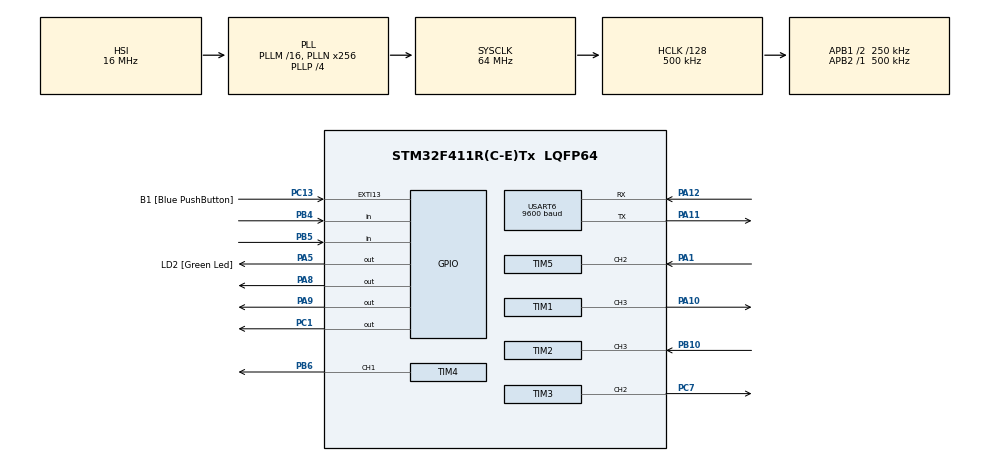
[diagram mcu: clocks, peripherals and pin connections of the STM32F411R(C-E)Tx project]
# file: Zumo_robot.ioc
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Mcu.Family=STM32F4
Mcu.Name=STM32F411R(C-E)Tx
Mcu.Package=LQFP64
NVIC.PriorityGroup=NVIC_PRIORITYGROUP_0
NVIC.TIM2_IRQn=true\:0\:0\:false\:false\:true\:true\:true\:true
NVIC.TIM5_IRQn=true\:0\:0\:false\:false\:true\:true\:true\:true
NVIC.USART6_IRQn=true\:0\:0\:false\:false\:true\:true\:true\:true
PA1.Signal=S_TIM5_CH2
PA10.Signal=S_TIM1_CH3
PA11.Mode=Asynchronous
PA11.Signal=USART6_TX
PA12.Mode=Asynchronous
PA12.Signal=USART6_RX
PA13.GPIO_Label=TMS
PA13.Signal=SYS_JTMS-SWDIO
PA14.GPIO_Label=TCK
PA14.Signal=SYS_JTCK-SWCLK
PA2.Signal=USART2_TX
PA3.GPIO_Label=USART_RX
PA3.Signal=USART2_RX
PA5.GPIO_Label=LD2 [Green Led]
PA5.Signal=GPIO_Output
PA8.Signal=GPIO_Output
PA9.Signal=GPIO_Output
PB10.Signal=S_TIM2_CH3
PB3.GPIO_Label=SWO
PB3.Signal=SYS_JTDO-SWO
PB4.Signal=GPIO_Input
PB5.Signal=GPIO_Input
PB6.Signal=S_TIM4_CH1
PC1.Signal=GPIO_Output
PC13-ANTI_TAMP.GPIO_Label=B1 [Blue PushButton]
PC13-ANTI_TAMP.GPIO_ModeDefaultEXTI=GPIO_MODE_IT_FALLING
PC13-ANTI_TAMP.Signal=GPXTI13
PC14-OSC32_IN.Signal=RCC_OSC32_IN
PC15-OSC32_OUT.Signal=RCC_OSC32_OUT
PC7.Signal=S_TIM3_CH2
PH0\ -\ OSC_IN.Signal=RCC_OSC_IN
PH1\ -\ OSC_OUT.Signal=RCC_OSC_OUT
ProjectManager.HeapSize=0x200
ProjectManager.StackSize=0x400
ProjectManager.TargetToolchain=STM32CubeIDE
RCC.48MHZClocksFreq_Value=64000000
RCC.AHBCLKDivider=RCC_SYSCLK_DIV128
RCC.AHBFreq_Value=500000
RCC.APB1CLKDivider=RCC_HCLK_DIV2
RCC.APB1Freq_Value=250000
RCC.APB1TimFreq_Value=500000
RCC.APB2Freq_Value=500000
RCC.APB2TimFreq_Value=500000
RCC.CortexFreq_Value=500000
RCC.FLatency-AdvancedSettings=FLASH_LATENCY_0
RCC.HCLKFreq_Value=500000
RCC.HSE_VALUE=8000000
RCC.HSI_VALUE=16000000
RCC.LSE_VALUE=32768
RCC.PLLN=256
RCC.PLLP=RCC_PLLP_DIV4
RCC.SYSCLKFreq_VALUE=64000000
RCC.SYSCLKSource=RCC_SYSCLKSOURCE_PLLCLK
RCC.VCOOutputFreq_Value=256000000
SH.S_TIM1_CH3.0=TIM1_CH3,PWM Generation3 CH3
SH.S_TIM2_CH3.0=TIM2_CH3,Input_Capture3_from_TI3
SH.S_TIM3_CH2.0=TIM3_CH2,PWM Generation2 CH2
SH.S_TIM4_CH1.0=TIM4_CH1,PWM Generation1 CH1
SH.S_TIM5_CH2.0=TIM5_CH2,Input_Capture2_from_TI2
TIM1.Channel-PWM\ Generation3\ CH3=TIM_CHANNEL_3
TIM1.Period=99
TIM1.Prescaler=99
TIM2.Channel-Input_Capture3_from_TI3=TIM_CHANNEL_3
TIM3.Channel-PWM\ Generation2\ CH2=TIM_CHANNEL_2
TIM3.Period=99
TIM3.Prescaler=9
TIM3.Pulse-PWM\ Generation2\ CH2=0
TIM4.Channel-PWM\ Generation1\ CH1=TIM_CHANNEL_1
TIM4.Period=99
TIM4.Prescaler=9
TIM4.Pulse-PWM\ Generation1\ CH1=0
TIM5.Channel-Input_Capture2_from_TI2=TIM_CHANNEL_2
TIM9.Period=65000
TIM9.Prescaler=49999
USART6.BaudRate=9600
USART6.VirtualMode=VM_ASYNC
VP_TIM1_VS_ClockSourceINT.Mode=Internal
VP_TIM2_VS_ClockSourceINT.Mode=Internal
VP_TIM5_VS_ClockSourceINT.Mode=Internal
VP_TIM9_VS_ClockSourceINT.Mode=Internal
board=NUCLEO-F411RE

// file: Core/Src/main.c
/* USER CODE BEGIN Header */
/**
 ******************************************************************************
 * @file           : main.c
 * @brief          : Main program body
 ******************************************************************************
 * @attention
 *
 * Copyright (c) 2025 STMicroelectronics.
 * All rights reserved.
 *
 * This software is licensed under terms that can be found in the LICENSE file
 * in the root directory of this software component.
 * If no LICENSE file comes with this software, it is provided AS-IS.
 *
 ******************************************************************************
 */
/* USER CODE END Header */
#include "main.h"

/* USER CODE BEGIN Includes */
int count = 0;
int party = 0;
uint8_t receive = 0;
uint8_t transmit = 97;
uint8_t init = 0;
uint8_t songNum = 0;

/* USER CODE END Includes */

TIM_HandleTypeDef htim1;
TIM_HandleTypeDef htim2;
TIM_HandleTypeDef htim3;
TIM_HandleTypeDef htim4;
TIM_HandleTypeDef htim5;
TIM_HandleTypeDef htim9;

UART_HandleTypeDef huart6;

void SystemClock_Config(void);
static void MX_GPIO_Init(void);
static void MX_USART6_UART_Init(void);
static void MX_TIM4_Init(void);
static void MX_TIM3_Init(void);
static void MX_TIM2_Init(void);
static void MX_TIM9_Init(void);
static void MX_TIM5_Init(void);
static void MX_TIM1_Init(void);

/* USER CODE BEGIN 0 */
struct Song{
	int bpm; // should be between 50 and 150
	int duration; //in seconds
	int genre;
};
void forward(int ccr){
	HAL_GPIO_WritePin(GPIOA, GPIO_PIN_9, 0);
	HAL_GPIO_WritePin(GPIOA, GPIO_PIN_8, 0);
	TIM4->CCR1 = ccr;
	TIM3->CCR2 = ccr;
}
void backward(float seconds, int ccr){
	HAL_GPIO_WritePin(GPIOA, GPIO_PIN_9, 1);
	HAL_GPIO_WritePin(GPIOA, GPIO_PIN_8, 1);
	TIM4->CCR1 = ccr;
	TIM3->CCR2 = ccr;
}
void right(int ccr){
	HAL_GPIO_WritePin(GPIOA, GPIO_PIN_9, 0);
	HAL_GPIO_WritePin(GPIOA, GPIO_PIN_8, 0);
	TIM4->CCR1 = ccr;
	TIM3->CCR2 = 0;
}
void left(int ccr){
	HAL_GPIO_WritePin(GPIOA, GPIO_PIN_9, 0);
	HAL_GPIO_WritePin(GPIOA, GPIO_PIN_8, 0);
	TIM4->CCR1 = 0;
	TIM3->CCR2 = ccr;
}
int right_sensor(GPIO_InitTypeDef GPIO_InitStruct){
	  GPIO_InitStruct.Pin = GPIO_PIN_1;
	  GPIO_InitStruct.Mode = GPIO_MODE_OUTPUT_PP;
	  GPIO_InitStruct.Pull = GPIO_NOPULL;
	  HAL_GPIO_Init(GPIOA, &GPIO_InitStruct);
	  HAL_GPIO_WritePin(GPIOA, GPIO_PIN_1, 1);
	  HAL_Delay(5);
	  GPIO_InitStruct.Pin = GPIO_PIN_1;
	  GPIO_InitStruct.Mode = GPIO_MODE_AF_PP;
	  GPIO_InitStruct.Pull = GPIO_NOPULL;
	  GPIO_InitStruct.Speed = GPIO_SPEED_FREQ_LOW;
	  GPIO_InitStruct.Alternate = GPIO_AF2_TIM5;
	  TIM5->CNT = 0;
	  HAL_GPIO_Init(GPIOA, &GPIO_InitStruct);
	  HAL_Delay(10);
	  return count;
}
int left_sensor(GPIO_InitTypeDef GPIO_InitStruct){
	  GPIO_InitStruct.Pin = GPIO_PIN_10;
	  GPIO_InitStruct.Mode = GPIO_MODE_OUTPUT_PP;
	  GPIO_InitStruct.Pull = GPIO_NOPULL;
	  HAL_GPIO_Init(GPIOB, &GPIO_InitStruct);
	  HAL_GPIO_WritePin(GPIOB, GPIO_PIN_10, 1);
	  HAL_Delay(5);
	  GPIO_InitStruct.Pin = GPIO_PIN_10;
	  GPIO_InitStruct.Mode = GPIO_MODE_AF_PP;
	  GPIO_InitStruct.Pull = GPIO_NOPULL;
	  GPIO_InitStruct.Speed = GPIO_SPEED_FREQ_LOW;
	  GPIO_InitStruct.Alternate = GPIO_AF1_TIM2;
	  TIM2->CNT = 0;
	  HAL_GPIO_Init(GPIOB, &GPIO_InitStruct);
	  HAL_Delay(10);
	  return count;
}
void stop(){
	TIM4->CCR1 = 0;
	TIM3->CCR2 = 0;
	TIM1->CCR3 = 0;
}
void dance(int ccr){
	TIM1->CCR3 = ccr;
}
/* USER CODE END 0 */

int main(void)
{

  /* MCU Configuration--------------------------------------------------------*/

  /* Reset of all peripherals, Initializes the Flash interface and the Systick. */
  HAL_Init();

  /* Configure the system clock */
  SystemClock_Config();

  /* Initialize all configured peripherals */
  MX_GPIO_Init();
  MX_USART6_UART_Init();
  MX_TIM4_Init();
  MX_TIM3_Init();
  MX_TIM2_Init();
  MX_TIM9_Init();
  MX_TIM5_Init();
  MX_TIM1_Init();
  /* USER CODE BEGIN 2 */
 HAL_TIM_PWM_Start(&htim4, TIM_CHANNEL_1);
 HAL_TIM_PWM_Start(&htim3, TIM_CHANNEL_2);
 HAL_TIM_PWM_Start(&htim1, TIM_CHANNEL_3);

 int ccr = 0;
 int seconds = 0;
 HAL_GPIO_WritePin(GPIOA, GPIO_PIN_9, 1);
 HAL_GPIO_WritePin(GPIOA, GPIO_PIN_8, 1);
 struct Song songs[13];
 songs[0].bpm = 0;
 songs[0].duration = 0;
 songs[0].genre = 0;
 //song 1: one kiss
 songs[1].bpm = 124;
 songs[1].duration = 215;
 songs[1].genre = 3;
 //somg2: both of us
 songs[2].bpm = 124;
 songs[2].duration = 352;
 songs[2].genre = 4;
 //song 3: romantika
 songs[3].bpm = 160;
 songs[3].duration = 250;
 songs[3].genre = 4;
 //song 4: birds of a feather
 songs[4].bpm = 104;
 songs[4].duration = 230;
 songs[4].genre = 3;
 //song 5: new light
 songs[5].bpm = 124;
 songs[5].duration = 217;
 songs[5].genre = 3;
 //song 6: california love
 songs[6].bpm = 92;
 songs[6].duration = 285;
 songs[6].genre = 1;
 //song 7: I had some help
 songs[7].bpm = 128;
 songs[7].duration = 201;
 songs[7].genre = 2;
 //song 8: Future song
 songs[8].bpm = 80;
 songs[8].duration = 148;
 songs[8].genre = 1;
 //song 9: nun major
 songs[9].bpm = 98;
 songs[9].duration = 152;
 songs[9].genre = 1;
 //song 10: bullets
 songs[10].bpm = 125;
 songs[10].duration = 299;
 songs[10].genre = 4;
 //song 11: jolene
 songs[11].bpm = 111;
 songs[11].duration = 161;
 songs[11].genre = 2;
 //song 12: all your'n
 songs[12].bpm = 78;
 songs[12].duration = 218;
 songs[12].genre = 2;

 HAL_GPIO_WritePin(GPIOC, GPIO_PIN_1, 1);
 HAL_TIM_IC_Start_IT(&htim5, TIM_CHANNEL_2);
 HAL_TIM_IC_Start_IT(&htim2, TIM_CHANNEL_3);
 GPIO_InitTypeDef GPIO_InitStruct = {0};
 TIM2->CCER |= (0b1 << 9);
 TIM2->CCER &= ~(0b1 << 11);
 TIM5->CCER |= (0b1 << 5);
 TIM5->CCER &= ~(0b1 << 7);
 int rightS = 0;
 int leftS = 0;
 int genre = 0;
 int find_shape = 0;
 int intersection = 0;

 HAL_UART_Receive_IT(&huart6, &receive, 1);
  /* USER CODE END 2 */

  /* Infinite loop */
  /* USER CODE BEGIN WHILE */
 while (1)
 {
	  //state: init
	 receive = 0;
	 transmit = 97;
	 init = 1;
	  while(init == 1){

	  }

	  //setup
	  ccr = 15;
	  int length = songs[songNum].duration;
 	  TIM1->ARR = 5000 * 60 / songs[songNum].bpm;
	  dance(1000);
	  genre = songs[songNum].genre;

	  __HAL_TIM_SET_COUNTER(&htim9, 0);
	  HAL_TIM_Base_Start(&htim9);
	  int tim9_time = 0;

	  //state: find_shape part 1
	  find_shape = 1;
	  intersection = 0;
	  while(find_shape == 1){
		  forward(ccr);
		  rightS = right_sensor(GPIO_InitStruct);
		  leftS = left_sensor(GPIO_InitStruct);
		  //test a
		  transmit = 97;
		  HAL_UART_Transmit(&huart6, &transmit, 1, HAL_MAX_DELAY);
		  //test a
		  if(rightS > 530 && leftS > 830) {
			  if((genre == 1 || genre == 2) && intersection == 0){
				  find_shape = 0;
				  break;
			  }
			  else if(intersection == 1){
				  //test c
				  transmit = 99;
				  HAL_UART_Transmit(&huart6, &transmit, 1, HAL_MAX_DELAY);
				  //test c
				  find_shape = 0;
				  break;
			  }
			  if(genre == 3 || genre == 4){
				  while(rightS > 530 && leftS > 830){
					  forward(ccr);
					  rightS = right_sensor(GPIO_InitStruct);
					  leftS = left_sensor(GPIO_InitStruct);
					  //test b
					  transmit = 98;
					  HAL_UART_Transmit(&huart6, &transmit, 1, HAL_MAX_DELAY);
					  //test b
				  }
			  }
			  intersection++;
		  }
		  else if(!(rightS > 530 && leftS > 830)){
			  while(rightS > 530){
				  leftS = left_sensor(GPIO_InitStruct);
				  rightS = right_sensor(GPIO_InitStruct);
				  if(rightS > 530 && leftS > 830){
					  break;
				  }
				  right(ccr + 25);
				  //test d
				  transmit = 100;
				  HAL_UART_Transmit(&huart6, &transmit, 1, HAL_MAX_DELAY);
				  //test d
			  }
			  while(leftS > 830){
				  leftS = left_sensor(GPIO_InitStruct);
				  rightS = right_sensor(GPIO_InitStruct);
				  if(rightS > 530 && leftS > 830){
					  break;
				  }
				  left(ccr + 25);
				  //test e
				  transmit = 101;
				  HAL_UART_Transmit(&huart6, &transmit, 1, HAL_MAX_DELAY);
				  //test e
			  }
		  }
	  }

 	 if(genre == 1 || genre == 3){
		  while(leftS > 830){
			  //test t
			  transmit = 116;
			  HAL_UART_Transmit(&huart6, &transmit, 1, HAL_MAX_DELAY);
			  //test t
			  left(ccr + 25);
			  leftS = left_sensor(GPIO_InitStruct);
		  }
 	 }
 	 else{
		  while(rightS > 530){
			  //test f
			  transmit = 102;
			  HAL_UART_Transmit(&huart6, &transmit, 1, HAL_MAX_DELAY);
			  //test f
			  right(ccr + 25);
			  rightS = right_sensor(GPIO_InitStruct);
		  }
 	 }

 	 //state: find_shape part 2
	  find_shape = 1;
	  while(find_shape == 1){
		  //test g
		  transmit = 103;
		  HAL_UART_Transmit(&huart6, &transmit, 1, HAL_MAX_DELAY);
		  //test g
		  forward(ccr);
		  rightS = right_sensor(GPIO_InitStruct);
		  leftS = left_sensor(GPIO_InitStruct);
		  if(rightS > 530 && leftS > 830) {
			  //test h
			  transmit = 104;
			  HAL_UART_Transmit(&huart6, &transmit, 1, HAL_MAX_DELAY);
			  //test h
			  find_shape = 0;
			  break;
		  }
		  else if(!(rightS > 530 && leftS > 830)){
			  while(rightS > 530){
				  leftS = left_sensor(GPIO_InitStruct);
				  rightS = right_sensor(GPIO_InitStruct);
				  if(rightS > 530 && leftS > 830) {
					  //test j
					  transmit = 106;
					  HAL_UART_Transmit(&huart6, &transmit, 1, HAL_MAX_DELAY);
					  //test j
					  find_shape = 0;
					  break;
				  }
				  right(ccr + 25);
				  //test i
				  transmit = 105;
				  HAL_UART_Transmit(&huart6, &transmit, 1, HAL_MAX_DELAY);
				  //test i
			  }
			  while(leftS > 830){
				  leftS = left_sensor(GPIO_InitStruct);
				  rightS = right_sensor(GPIO_InitStruct);
				  if(rightS > 530 && leftS > 830){
					  //test l
					  transmit = 108;
					  HAL_UART_Transmit(&huart6, &transmit, 1, HAL_MAX_DELAY);
					  //test l
					  find_shape = 0;
					  break;
				  }
				  left(ccr + 25);
				  //test k
				  transmit = 107;
				  HAL_UART_Transmit(&huart6, &transmit, 1, HAL_MAX_DELAY);
				  //test k
			  }
	  	  }
	  }
	  while(rightS > 530){
		  //test m
		  transmit = 109;
		  HAL_UART_Transmit(&huart6, &transmit, 1, HAL_MAX_DELAY);
		  //test m
		  right(ccr + 25);
		  rightS = right_sensor(GPIO_InitStruct);
	  }

	  //state: dance_party for genre 1 and 3
	  party = 1;
	  while(party == 1 && (tim9_time < length * 10)){
		  //test n
		  transmit = 110;
		  HAL_UART_Transmit(&huart6, &transmit, 1, HAL_MAX_DELAY);
		  //test n
		  forward(ccr);
		  rightS = right_sensor(GPIO_InitStruct);
		  leftS = left_sensor(GPIO_InitStruct);
		  while(rightS > 600 && leftS > 900) {
			  //test o
			  transmit = 111;
			  HAL_UART_Transmit(&huart6, &transmit, 1, HAL_MAX_DELAY);
			  //test o
			  forward(ccr);
			  rightS = right_sensor(GPIO_InitStruct);
			  leftS = left_sensor(GPIO_InitStruct);
		  }
		  if(!(rightS > 600 && leftS > 900)){
			  while(rightS > 530){
				  leftS = left_sensor(GPIO_InitStruct);
				  rightS = right_sensor(GPIO_InitStruct);
				  if(leftS > 900){
					  //test q
					  transmit = 113;
					  HAL_UART_Transmit(&huart6, &transmit, 1, HAL_MAX_DELAY);
					  //test q
					  break;
				  }
				  right(ccr + 25);
				  //test p
				  transmit = 112;
				  HAL_UART_Transmit(&huart6, &transmit, 1, HAL_MAX_DELAY);
				  //test p
			  }
			  while(leftS > 830){
				  leftS = left_sensor(GPIO_InitStruct);
				  rightS = right_sensor(GPIO_InitStruct);
				  if(rightS > 600){
					  //test s
					  transmit = 115;
					  HAL_UART_Transmit(&huart6, &transmit, 1, HAL_MAX_DELAY);
					  //test s
					  break;
				  }
				  left(ccr + 25);
			  }
		  }
		  tim9_time = __HAL_TIM_GET_COUNTER(&htim9);
	  }

	  //return part 1
	  find_shape = 1;
	  while(find_shape == 1){
		  forward(ccr);
		  rightS = right_sensor(GPIO_InitStruct);
		  leftS = left_sensor(GPIO_InitStruct);
		  if(rightS > 530 && leftS > 830) {
			  find_shape = 0;
			  break;
		  }
		  else if(!(rightS > 530 && leftS > 830)){
			  while(rightS > 530){
				  leftS = left_sensor(GPIO_InitStruct);
				  rightS = right_sensor(GPIO_InitStruct);
				  if(rightS > 530 && leftS > 830) {
					  find_shape = 0;
					  break;
				  }
				  right(ccr + 25);
			  }
			  while(leftS > 830){
				  leftS = left_sensor(GPIO_InitStruct);
				  rightS = right_sensor(GPIO_InitStruct);
				  if(rightS > 530 && leftS > 830){
					  find_shape = 0;
					  break;
				  }
				  left(ccr + 25);
			  }
	  	  }
	  }

	  while(rightS > 530){
			  right(ccr + 25);
			  rightS = right_sensor(GPIO_InitStruct);
	  }

	  //return part 2
	  find_shape = 1;
	  while(find_shape == 1){
		  forward(ccr);
		  rightS = right_sensor(GPIO_InitStruct);
		  leftS = left_sensor(GPIO_InitStruct);
		  if(rightS > 530 && leftS > 830) {
			  find_shape = 0;
			  break;
		  }
		  else if(!(rightS > 530 && leftS > 830)){
			  while(rightS > 530){
				  leftS = left_sensor(GPIO_InitStruct);
				  rightS = right_sensor(GPIO_InitStruct);
				  if(rightS > 530 && leftS > 830) {
					  find_shape = 0;
					  break;
				  }
				  right(ccr + 25);
			  }
			  while(leftS > 830){
				  leftS = left_sensor(GPIO_InitStruct);
				  rightS = right_sensor(GPIO_InitStruct);
				  if(rightS > 530 && leftS > 830){
					  find_shape = 0;
					  break;
				  }
				  left(ccr + 25);
			  }
		  }
	  }

	  if(genre == 2 || genre == 4){
		  while(leftS > 830){
			  left(ccr + 25);
			  leftS = left_sensor(GPIO_InitStruct);
		  }
	  }
	  else{
		  while(rightS > 530){
			  right(ccr + 25);
			  rightS = right_sensor(GPIO_InitStruct);
		  }
	  }

	  //return part 3
	  find_shape = 1;
	  intersection = 0;
	  while(find_shape == 1){
		  forward(ccr);
		  rightS = right_sensor(GPIO_InitStruct);
		  leftS = left_sensor(GPIO_InitStruct);
		  if(rightS > 530 && leftS > 830) {
			  if((genre == 1 || genre == 2) && intersection == 0){
				  find_shape = 0;
				  break;
			  }
			  else if(intersection == 1){
				  find_shape = 0;
				  break;
			  }
			  if(genre == 3 || genre == 4){
				  while(rightS > 530 && leftS > 830){
					  forward(ccr);
					  rightS = right_sensor(GPIO_InitStruct);
					  leftS = left_sensor(GPIO_InitStruct);
				  }
			  }
			  intersection++;
		  }
		  else if(!(rightS > 530 && leftS > 830)){
			  while(rightS > 530){
				  leftS = left_sensor(GPIO_InitStruct);
				  rightS = right_sensor(GPIO_InitStruct);
				  if(rightS > 530 && leftS > 830){
					  break;
				  }
				  right(ccr + 25);
			  }
			  while(leftS > 830){
				  leftS = left_sensor(GPIO_InitStruct);
				  rightS = right_sensor(GPIO_InitStruct);
				  if(rightS > 530 && leftS > 830){
					  break;
				  }
				  left(ccr + 25);
			  }
		  }
	  }
	  stop();

	  //white right sensor: ~450, white left sensor: 783
	  //black right sensor: ~1180, black left sensor: 2050
    /* USER CODE END WHILE */

	  }
}

void SystemClock_Config(void)
{
  RCC_OscInitTypeDef RCC_OscInitStruct = {0};
  RCC_ClkInitTypeDef RCC_ClkInitStruct = {0};

  /** Configure the main internal regulator output voltage
  */
  __HAL_RCC_PWR_CLK_ENABLE();
  __HAL_PWR_VOLTAGESCALING_CONFIG(PWR_REGULATOR_VOLTAGE_SCALE1);

  /** Initializes the RCC Oscillators according to the specified parameters
  * in the RCC_OscInitTypeDef structure.
  */
  RCC_OscInitStruct.OscillatorType = RCC_OSCILLATORTYPE_HSI;
  RCC_OscInitStruct.HSIState = RCC_HSI_ON;
  RCC_OscInitStruct.HSICalibrationValue = RCC_HSICALIBRATION_DEFAULT;
  RCC_OscInitStruct.PLL.PLLState = RCC_PLL_ON;
  RCC_OscInitStruct.PLL.PLLSource = RCC_PLLSOURCE_HSI;
  RCC_OscInitStruct.PLL.PLLM = 16;
  RCC_OscInitStruct.PLL.PLLN = 256;
  RCC_OscInitStruct.PLL.PLLP = RCC_PLLP_DIV4;
  RCC_OscInitStruct.PLL.PLLQ = 4;
  if (HAL_RCC_OscConfig(&RCC_OscInitStruct) != HAL_OK)
  {
    Error_Handler();
  }

  /** Initializes the CPU, AHB and APB buses clocks
  */
  RCC_ClkInitStruct.ClockType = RCC_CLOCKTYPE_HCLK|RCC_CLOCKTYPE_SYSCLK
                              |RCC_CLOCKTYPE_PCLK1|RCC_CLOCKTYPE_PCLK2;
  RCC_ClkInitStruct.SYSCLKSource = RCC_SYSCLKSOURCE_PLLCLK;
  RCC_ClkInitStruct.AHBCLKDivider = RCC_SYSCLK_DIV128;
  RCC_ClkInitStruct.APB1CLKDivider = RCC_HCLK_DIV2;
  RCC_ClkInitStruct.APB2CLKDivider = RCC_HCLK_DIV1;

  if (HAL_RCC_ClockConfig(&RCC_ClkInitStruct, FLASH_LATENCY_0) != HAL_OK)
  {
    Error_Handler();
  }
}

static void MX_TIM1_Init(void)
{

  TIM_ClockConfigTypeDef sClockSourceConfig = {0};
  TIM_MasterConfigTypeDef sMasterConfig = {0};
  TIM_OC_InitTypeDef sConfigOC = {0};
  TIM_BreakDeadTimeConfigTypeDef sBreakDeadTimeConfig = {0};

  htim1.Instance = TIM1;
  htim1.Init.Prescaler = 99;
  htim1.Init.CounterMode = TIM_COUNTERMODE_UP;
  htim1.Init.Period = 99;
  htim1.Init.ClockDivision = TIM_CLOCKDIVISION_DIV1;
  htim1.Init.RepetitionCounter = 0;
  htim1.Init.AutoReloadPreload = TIM_AUTORELOAD_PRELOAD_DISABLE;
  if (HAL_TIM_Base_Init(&htim1) != HAL_OK)
  {
    Error_Handler();
  }
  sClockSourceConfig.ClockSource = TIM_CLOCKSOURCE_INTERNAL;
  if (HAL_TIM_ConfigClockSource(&htim1, &sClockSourceConfig) != HAL_OK)
  {
    Error_Handler();
  }
  if (HAL_TIM_PWM_Init(&htim1) != HAL_OK)
  {
    Error_Handler();
  }
  sMasterConfig.MasterOutputTrigger = TIM_TRGO_RESET;
  sMasterConfig.MasterSlaveMode = TIM_MASTERSLAVEMODE_DISABLE;
  if (HAL_TIMEx_MasterConfigSynchronization(&htim1, &sMasterConfig) != HAL_OK)
  {
    Error_Handler();
  }
  sConfigOC.OCMode = TIM_OCMODE_PWM1;
  sConfigOC.Pulse = 0;
  sConfigOC.OCPolarity = TIM_OCPOLARITY_HIGH;
  sConfigOC.OCNPolarity = TIM_OCNPOLARITY_HIGH;
  sConfigOC.OCFastMode = TIM_OCFAST_DISABLE;
  sConfigOC.OCIdleState = TIM_OCIDLESTATE_RESET;
  sConfigOC.OCNIdleState = TIM_OCNIDLESTATE_RESET;
  if (HAL_TIM_PWM_ConfigChannel(&htim1, &sConfigOC, TIM_CHANNEL_3) != HAL_OK)
  {
    Error_Handler();
  }
  sBreakDeadTimeConfig.OffStateRunMode = TIM_OSSR_DISABLE;
  sBreakDeadTimeConfig.OffStateIDLEMode = TIM_OSSI_DISABLE;
  sBreakDeadTimeConfig.LockLevel = TIM_LOCKLEVEL_OFF;
  sBreakDeadTimeConfig.DeadTime = 0;
  sBreakDeadTimeConfig.BreakState = TIM_BREAK_DISABLE;
  sBreakDeadTimeConfig.BreakPolarity = TIM_BREAKPOLARITY_HIGH;
  sBreakDeadTimeConfig.AutomaticOutput = TIM_AUTOMATICOUTPUT_DISABLE;
  if (HAL_TIMEx_ConfigBreakDeadTime(&htim1, &sBreakDeadTimeConfig) != HAL_OK)
  {
    Error_Handler();
  }
  HAL_TIM_MspPostInit(&htim1);

}

static void MX_TIM2_Init(void)
{

  TIM_ClockConfigTypeDef sClockSourceConfig = {0};
  TIM_MasterConfigTypeDef sMasterConfig = {0};
  TIM_IC_InitTypeDef sConfigIC = {0};

  htim2.Instance = TIM2;
  htim2.Init.Prescaler = 0;
  htim2.Init.CounterMode = TIM_COUNTERMODE_UP;
  htim2.Init.Period = 4294967295;
  htim2.Init.ClockDivision = TIM_CLOCKDIVISION_DIV1;
  htim2.Init.AutoReloadPreload = TIM_AUTORELOAD_PRELOAD_DISABLE;
  if (HAL_TIM_Base_Init(&htim2) != HAL_OK)
  {
    Error_Handler();
  }
  sClockSourceConfig.ClockSource = TIM_CLOCKSOURCE_INTERNAL;
  if (HAL_TIM_ConfigClockSource(&htim2, &sClockSourceConfig) != HAL_OK)
  {
    Error_Handler();
  }
  if (HAL_TIM_IC_Init(&htim2) != HAL_OK)
  {
    Error_Handler();
  }
  sMasterConfig.MasterOutputTrigger = TIM_TRGO_RESET;
  sMasterConfig.MasterSlaveMode = TIM_MASTERSLAVEMODE_DISABLE;
  if (HAL_TIMEx_MasterConfigSynchronization(&htim2, &sMasterConfig) != HAL_OK)
  {
    Error_Handler();
  }
  sConfigIC.ICPolarity = TIM_INPUTCHANNELPOLARITY_RISING;
  sConfigIC.ICSelection = TIM_ICSELECTION_DIRECTTI;
  sConfigIC.ICPrescaler = TIM_ICPSC_DIV1;
  sConfigIC.ICFilter = 0;
  if (HAL_TIM_IC_ConfigChannel(&htim2, &sConfigIC, TIM_CHANNEL_3) != HAL_OK)
  {
    Error_Handler();
  }

}

static void MX_TIM3_Init(void)
{

  TIM_MasterConfigTypeDef sMasterConfig = {0};
  TIM_OC_InitTypeDef sConfigOC = {0};

  htim3.Instance = TIM3;
  htim3.Init.Prescaler = 9;
  htim3.Init.CounterMode = TIM_COUNTERMODE_UP;
  htim3.Init.Period = 99;
  htim3.Init.ClockDivision = TIM_CLOCKDIVISION_DIV1;
  htim3.Init.AutoReloadPreload = TIM_AUTORELOAD_PRELOAD_DISABLE;
  if (HAL_TIM_PWM_Init(&htim3) != HAL_OK)
  {
    Error_Handler();
  }
  sMasterConfig.MasterOutputTrigger = TIM_TRGO_RESET;
  sMasterConfig.MasterSlaveMode = TIM_MASTERSLAVEMODE_DISABLE;
  if (HAL_TIMEx_MasterConfigSynchronization(&htim3, &sMasterConfig) != HAL_OK)
  {
    Error_Handler();
  }
  sConfigOC.OCMode = TIM_OCMODE_PWM1;
  sConfigOC.Pulse = 0;
  sConfigOC.OCPolarity = TIM_OCPOLARITY_HIGH;
  sConfigOC.OCFastMode = TIM_OCFAST_DISABLE;
  if (HAL_TIM_PWM_ConfigChannel(&htim3, &sConfigOC, TIM_CHANNEL_2) != HAL_OK)
  {
    Error_Handler();
  }
  HAL_TIM_MspPostInit(&htim3);

}

static void MX_TIM4_Init(void)
{

  TIM_MasterConfigTypeDef sMasterConfig = {0};
  TIM_OC_InitTypeDef sConfigOC = {0};

  htim4.Instance = TIM4;
  htim4.Init.Prescaler = 9;
  htim4.Init.CounterMode = TIM_COUNTERMODE_UP;
  htim4.Init.Period = 99;
  htim4.Init.ClockDivision = TIM_CLOCKDIVISION_DIV1;
  htim4.Init.AutoReloadPreload = TIM_AUTORELOAD_PRELOAD_DISABLE;
  if (HAL_TIM_PWM_Init(&htim4) != HAL_OK)
  {
    Error_Handler();
  }
  sMasterConfig.MasterOutputTrigger = TIM_TRGO_RESET;
  sMasterConfig.MasterSlaveMode = TIM_MASTERSLAVEMODE_DISABLE;
  if (HAL_TIMEx_MasterConfigSynchronization(&htim4, &sMasterConfig) != HAL_OK)
  {
    Error_Handler();
  }
  sConfigOC.OCMode = TIM_OCMODE_PWM1;
  sConfigOC.Pulse = 0;
  sConfigOC.OCPolarity = TIM_OCPOLARITY_HIGH;
  sConfigOC.OCFastMode = TIM_OCFAST_DISABLE;
  if (HAL_TIM_PWM_ConfigChannel(&htim4, &sConfigOC, TIM_CHANNEL_1) != HAL_OK)
  {
    Error_Handler();
  }
  HAL_TIM_MspPostInit(&htim4);

}

static void MX_TIM5_Init(void)
{

  TIM_ClockConfigTypeDef sClockSourceConfig = {0};
  TIM_MasterConfigTypeDef sMasterConfig = {0};
  TIM_IC_InitTypeDef sConfigIC = {0};

  htim5.Instance = TIM5;
  htim5.Init.Prescaler = 0;
  htim5.Init.CounterMode = TIM_COUNTERMODE_UP;
  htim5.Init.Period = 4294967295;
  htim5.Init.ClockDivision = TIM_CLOCKDIVISION_DIV1;
  htim5.Init.AutoReloadPreload = TIM_AUTORELOAD_PRELOAD_DISABLE;
  if (HAL_TIM_Base_Init(&htim5) != HAL_OK)
  {
    Error_Handler();
  }
  sClockSourceConfig.ClockSource = TIM_CLOCKSOURCE_INTERNAL;
  if (HAL_TIM_ConfigClockSource(&htim5, &sClockSourceConfig) != HAL_OK)
  {
    Error_Handler();
  }
  if (HAL_TIM_IC_Init(&htim5) != HAL_OK)
  {
    Error_Handler();
  }
  sMasterConfig.MasterOutputTrigger = TIM_TRGO_RESET;
  sMasterConfig.MasterSlaveMode = TIM_MASTERSLAVEMODE_DISABLE;
  if (HAL_TIMEx_MasterConfigSynchronization(&htim5, &sMasterConfig) != HAL_OK)
  {
    Error_Handler();
  }
  sConfigIC.ICPolarity = TIM_INPUTCHANNELPOLARITY_RISING;
  sConfigIC.ICSelection = TIM_ICSELECTION_DIRECTTI;
  sConfigIC.ICPrescaler = TIM_ICPSC_DIV1;
  sConfigIC.ICFilter = 0;
  if (HAL_TIM_IC_ConfigChannel(&htim5, &sConfigIC, TIM_CHANNEL_2) != HAL_OK)
  {
    Error_Handler();
  }

}

static void MX_TIM9_Init(void)
{

  TIM_ClockConfigTypeDef sClockSourceConfig = {0};

  htim9.Instance = TIM9;
  htim9.Init.Prescaler = 49999;
  htim9.Init.CounterMode = TIM_COUNTERMODE_UP;
  htim9.Init.Period = 65000;
  htim9.Init.ClockDivision = TIM_CLOCKDIVISION_DIV1;
  htim9.Init.AutoReloadPreload = TIM_AUTORELOAD_PRELOAD_DISABLE;
  if (HAL_TIM_Base_Init(&htim9) != HAL_OK)
  {
    Error_Handler();
  }
  sClockSourceConfig.ClockSource = TIM_CLOCKSOURCE_INTERNAL;
  if (HAL_TIM_ConfigClockSource(&htim9, &sClockSourceConfig) != HAL_OK)
  {
    Error_Handler();
  }

}

static void MX_USART6_UART_Init(void)
{

  huart6.Instance = USART6;
  huart6.Init.BaudRate = 9600;
  huart6.Init.WordLength = UART_WORDLENGTH_8B;
  huart6.Init.StopBits = UART_STOPBITS_1;
  huart6.Init.Parity = UART_PARITY_NONE;
  huart6.Init.Mode = UART_MODE_TX_RX;
  huart6.Init.HwFlowCtl = UART_HWCONTROL_NONE;
  huart6.Init.OverSampling = UART_OVERSAMPLING_16;
  if (HAL_UART_Init(&huart6) != HAL_OK)
  {
    Error_Handler();
  }

}

static void MX_GPIO_Init(void)
{
  GPIO_InitTypeDef GPIO_InitStruct = {0};

  /* GPIO Ports Clock Enable */
  __HAL_RCC_GPIOC_CLK_ENABLE();
  __HAL_RCC_GPIOH_CLK_ENABLE();
  __HAL_RCC_GPIOA_CLK_ENABLE();
  __HAL_RCC_GPIOB_CLK_ENABLE();

  /*Configure GPIO pin Output Level */
  HAL_GPIO_WritePin(GPIOC, GPIO_PIN_1, GPIO_PIN_RESET);

  /*Configure GPIO pin Output Level */
  HAL_GPIO_WritePin(GPIOA, LD2_Pin|GPIO_PIN_8|GPIO_PIN_9, GPIO_PIN_RESET);

  /*Configure GPIO pin : B1_Pin */
  GPIO_InitStruct.Pin = B1_Pin;
  GPIO_InitStruct.Mode = GPIO_MODE_IT_FALLING;
  GPIO_InitStruct.Pull = GPIO_NOPULL;
  HAL_GPIO_Init(B1_GPIO_Port, &GPIO_InitStruct);

  /*Configure GPIO pin : PC1 */
  GPIO_InitStruct.Pin = GPIO_PIN_1;
  GPIO_InitStruct.Mode = GPIO_MODE_OUTPUT_PP;
  GPIO_InitStruct.Pull = GPIO_NOPULL;
  GPIO_InitStruct.Speed = GPIO_SPEED_FREQ_LOW;
  HAL_GPIO_Init(GPIOC, &GPIO_InitStruct);

  /*Configure GPIO pins : PA2 USART_RX_Pin */
  GPIO_InitStruct.Pin = GPIO_PIN_2|USART_RX_Pin;
  GPIO_InitStruct.Mode = GPIO_MODE_AF_PP;
  GPIO_InitStruct.Pull = GPIO_NOPULL;
  GPIO_InitStruct.Speed = GPIO_SPEED_FREQ_VERY_HIGH;
  GPIO_InitStruct.Alternate = GPIO_AF7_USART2;
  HAL_GPIO_Init(GPIOA, &GPIO_InitStruct);

  /*Configure GPIO pins : LD2_Pin PA8 PA9 */
  GPIO_InitStruct.Pin = LD2_Pin|GPIO_PIN_8|GPIO_PIN_9;
  GPIO_InitStruct.Mode = GPIO_MODE_OUTPUT_PP;
  GPIO_InitStruct.Pull = GPIO_NOPULL;
  GPIO_InitStruct.Speed = GPIO_SPEED_FREQ_LOW;
  HAL_GPIO_Init(GPIOA, &GPIO_InitStruct);

  /*Configure GPIO pins : PB4 PB5 */
  GPIO_InitStruct.Pin = GPIO_PIN_4|GPIO_PIN_5;
  GPIO_InitStruct.Mode = GPIO_MODE_INPUT;
  GPIO_InitStruct.Pull = GPIO_NOPULL;
  HAL_GPIO_Init(GPIOB, &GPIO_InitStruct);

}

/* USER CODE BEGIN 4 */
void HAL_UART_RxCpltCallback(UART_HandleTypeDef *huart)
{
  HAL_UART_Receive_IT(&huart6, &receive, 1); //You need to toggle a breakpoint on this line!
  if(init == 1){
	  if(receive > 0 && receive < 13){
		  init = 0;
		  songNum = receive;
		  transmit = 97;
		  HAL_UART_Transmit(&huart6, &transmit, 1, HAL_MAX_DELAY);
	  }
  }
  else if(party == 1){
	  if(receive == 222){
		  party = 0;
		  transmit = 222;
		  HAL_UART_Transmit(&huart6, &transmit, 1, HAL_MAX_DELAY);
	  }
  }
}
// transmit receive songNum init
/* USER CODE END 4 */

void Error_Handler(void)
{
 __disable_irq();
 while (1)
 {
 }
}
